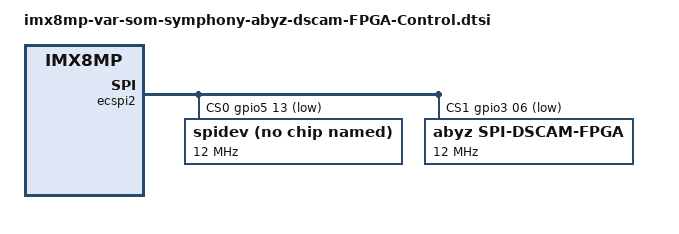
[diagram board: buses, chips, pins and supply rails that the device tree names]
// SPDX-License-Identifier: (GPL-2.0+ OR MIT)
/*
 * Copyright 2019 NXP
 * Copyright 2020-2021 Variscite Ltd.
 */


&pca9534 {
    usb3_sel_hog {
        status = "disabled";
    };
};

&gpio_leds {
    status = "okay";

    heartbeat {
        label = "New Heartbeat";
        linux,default-trigger = "none"; // Changing the trigger
        gpios = <&gpio5 0 GPIO_ACTIVE_LOW>; // Redefining the GPIO pin and polarity
    };
};


&ecspi2 {
	pinctrl-names = "default";
	pinctrl-0 = <&pinctrl_ecspi2>;
	cs-gpios = <&gpio5 13 GPIO_ACTIVE_LOW>, //gpio 4 13 
			<&gpio3 06 GPIO_ACTIVE_LOW>;    //gpio 2 6
	fsl,spi-num-chipselects = <2>;
	status = "okay";

	spidev@0 {
		compatible = "var,spidev";
		reg = <0>;
		spi-max-frequency = <12000000>;
		status = "okay";
	};

	spi-dscam-fpga@1{
		compatible="abyz,spi-dscam-fpga";
		reg=<1>;
		spi-max-frequency=<12000000>;
		cs-gpios=<&gpio3 06 GPIO_ACTIVE_LOW>;
		status="okay";
	};

};

&pinctrl_ecspi2 {
    fsl,pins = <
        MX8MP_IOMUXC_ECSPI2_SCLK__ECSPI2_SCLK    0x12
        MX8MP_IOMUXC_ECSPI2_MOSI__ECSPI2_MOSI    0x12
        MX8MP_IOMUXC_ECSPI2_MISO__ECSPI2_MISO    0x12
        MX8MP_IOMUXC_ECSPI2_SS0__GPIO5_IO13      0x12        
		MX8MP_IOMUXC_NAND_DATA00__GPIO3_IO06	 0x12
    >;
};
